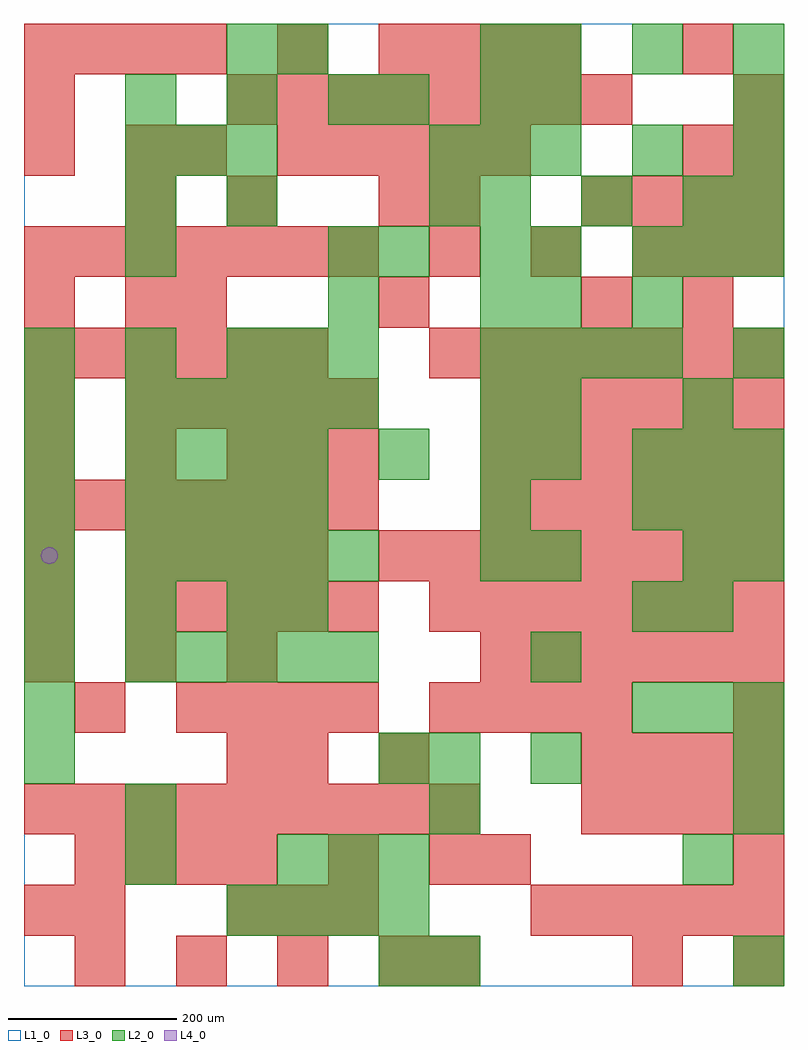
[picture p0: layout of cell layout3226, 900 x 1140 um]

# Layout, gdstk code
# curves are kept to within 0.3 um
import gdstk
lib = gdstk.Library(unit=1e-6, precision=1e-09)
def R(c, l, rs):  # rectangles x0, y0, x1, y1
    for r in rs: c.add(gdstk.rectangle(r[:2], r[2:], *l))
def A(c, l, x, y, w, h, nx, ny, dx, dy):  # array of equal rectangles
    R(c, l, [(x+i*dx, y+j*dy, x+i*dx+w, y+j*dy+h) for i in range(nx) for j in range(ny)])
def P(c, l, *ps):  # polygons
    for p in ps: c.add(gdstk.Polygon(p, *l))
L1_0 = (1, 0)
L2_0 = (2, 0)
L3_0 = (3, 0)
L4_0 = (4, 0)

layout3226 = lib.new_cell('layout3226')
R(layout3226, L1_0, [(0,0,900,1140)])
A(layout3226, L2_0, 840, 0, 60, 60, 1, 4, 0, 240)
A(layout3226, L2_0, 240, 60, 60, 60, 4, 1, 60, 0)
A(layout3226, L2_0, 300, 120, 60, 60, 3, 1, 60, 0)
A(layout3226, L2_0, 120, 180, 60, 60, 3, 1, 360, 0)
A(layout3226, L2_0, 0, 240, 60, 60, 1, 3, 0, 60)
A(layout3226, L2_0, 600, 240, 60, 60, 1, 4, 0, 120)
A(layout3226, L2_0, 720, 300, 60, 60, 3, 2, 60, 240)
A(layout3226, L2_0, 120, 360, 60, 60, 5, 2, 60, 120)
A(layout3226, L2_0, 0, 420, 60, 60, 3, 2, 120, 300)
A(layout3226, L2_0, 0, 480, 60, 60, 1, 4, 0, 60)
A(layout3226, L2_0, 540, 480, 60, 60, 1, 4, 0, 60)
A(layout3226, L2_0, 120, 540, 60, 60, 4, 2, 60, 60)
A(layout3226, L2_0, 720, 600, 60, 60, 3, 2, 60, 240)
A(layout3226, L2_0, 120, 660, 60, 60, 5, 1, 60, 0)
A(layout3226, L2_0, 360, 720, 60, 60, 1, 3, 0, 60)
A(layout3226, L2_0, 540, 720, 60, 60, 4, 1, 60, 0)
A(layout3226, L2_0, 540, 900, 60, 60, 3, 1, 120, 0)
A(layout3226, L2_0, 840, 900, 60, 60, 1, 3, 0, 60)
A(layout3226, L2_0, 120, 960, 60, 60, 3, 1, 60, 0)
A(layout3226, L2_0, 480, 960, 60, 60, 3, 1, 60, 0)
A(layout3226, L2_0, 120, 1020, 60, 60, 3, 1, 120, 0)
A(layout3226, L2_0, 600, 1080, 60, 60, 3, 1, 120, 0)
R(layout3226, L2_0, [(420,0,480,60), (480,0,540,60), (120,120,180,180), (780,120,840,180), (420,240,480,300), (480,240,540,300), (300,420,360,480), (720,420,780,480), (780,420,840,480), (780,480,840,540), (420,600,480,660), (600,660,660,720), (780,660,840,720), (300,720,360,780), (540,780,600,840), (600,780,660,840), (720,780,780,840), (120,840,180,900), (420,840,480,900), (540,840,600,900), (600,840,660,900), (120,900,180,960), (240,900,300,960), (480,900,540,960), (720,960,780,1020), (420,1020,480,1080), (540,1020,600,1080), (600,1020,660,1080), (240,1080,300,1140), (300,1080,360,1140), (540,1080,600,1140)])
A(layout3226, L3_0, 60, 0, 60, 60, 4, 1, 120, 0)
A(layout3226, L3_0, 240, 60, 60, 60, 3, 1, 60, 0)
A(layout3226, L3_0, 600, 60, 60, 60, 5, 1, 60, 0)
A(layout3226, L3_0, 60, 120, 60, 60, 4, 1, 60, 0)
A(layout3226, L3_0, 0, 180, 60, 60, 9, 1, 60, 0)
A(layout3226, L3_0, 660, 180, 60, 60, 4, 2, 60, 60)
A(layout3226, L3_0, 180, 300, 60, 60, 4, 1, 60, 0)
A(layout3226, L3_0, 480, 300, 60, 60, 4, 1, 60, 0)
A(layout3226, L3_0, 0, 360, 60, 60, 3, 2, 120, 240)
A(layout3226, L3_0, 540, 360, 60, 60, 6, 2, 60, 180)
A(layout3226, L3_0, 120, 420, 60, 60, 5, 2, 60, 240)
A(layout3226, L3_0, 480, 420, 60, 60, 7, 2, 60, 300)
A(layout3226, L3_0, 120, 480, 60, 60, 4, 1, 60, 0)
A(layout3226, L3_0, 420, 480, 60, 60, 8, 1, 60, 0)
A(layout3226, L3_0, 0, 540, 60, 60, 7, 2, 60, 300)
A(layout3226, L3_0, 540, 600, 60, 60, 6, 2, 60, 60)
A(layout3226, L3_0, 0, 720, 60, 60, 6, 1, 60, 0)
A(layout3226, L3_0, 180, 780, 60, 60, 3, 1, 240, 0)
A(layout3226, L3_0, 480, 840, 60, 60, 3, 1, 120, 0)
A(layout3226, L3_0, 780, 840, 60, 60, 1, 3, 0, 120)
A(layout3226, L3_0, 660, 900, 60, 60, 4, 1, 60, 0)
A(layout3226, L3_0, 300, 960, 60, 60, 5, 1, 60, 0)
A(layout3226, L3_0, 240, 1020, 60, 60, 8, 1, 60, 0)
A(layout3226, L3_0, 0, 1080, 60, 60, 4, 1, 60, 0)
A(layout3226, L3_0, 420, 1080, 60, 60, 4, 1, 60, 0)
R(layout3226, L3_0, [(480,0,540,60), (720,0,780,60), (840,0,900,60), (0,60,60,120), (60,60,120,120), (360,120,420,180), (480,120,540,180), (540,120,600,180), (840,120,900,180), (240,240,300,300), (300,240,360,300), (420,240,480,300), (60,300,120,360), (840,300,900,360), (0,420,60,480), (0,480,60,540), (300,600,360,660), (360,600,420,660), (0,660,60,720), (0,780,60,840), (120,780,180,840), (780,780,840,840), (840,840,900,900), (120,900,180,960), (240,900,300,960), (420,900,480,960), (480,900,540,960), (0,960,60,1020), (120,960,180,1020), (180,960,240,1020), (840,960,900,1020), (0,1020,60,1080), (840,1020,900,1080), (300,1080,360,1140)])
P(layout3226, L4_0, [(40,510),(39.239,513.827),(37.071,517.071),(33.827,519.239),(30,520),(26.173,519.239),(22.929,517.071),(20.761,513.827),(20,510),(20.761,506.173),(22.929,502.929),(26.173,500.761),(30,500),(33.827,500.761),(37.071,502.929),(39.239,506.173)])

lib.write_gds('layout3226.gds')
